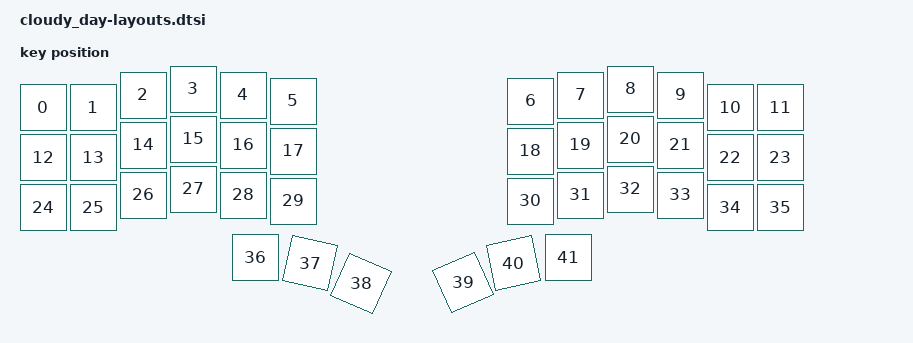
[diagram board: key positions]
#include <physical_layouts.dtsi>

/ {
    physical_layout_cloudy_day: physical_layout_cloudy_day {
        compatible = "zmk,physical-layout";
        display-name = "cloudy day";
        keys  //                     w   h    x    y     rot    rx    ry
            = <&key_physical_attrs 100 100    0   37       0     0     0>
            , <&key_physical_attrs 100 100  100   37       0     0     0>
            , <&key_physical_attrs 100 100  200   12       0     0     0>
            , <&key_physical_attrs 100 100  300    0       0     0     0>
            , <&key_physical_attrs 100 100  400   12       0     0     0>
            , <&key_physical_attrs 100 100  500   24       0     0     0>
            , <&key_physical_attrs 100 100  975   24       0     0     0>
            , <&key_physical_attrs 100 100 1075   12       0     0     0>
            , <&key_physical_attrs 100 100 1175    0       0     0     0>
            , <&key_physical_attrs 100 100 1275   12       0     0     0>
            , <&key_physical_attrs 100 100 1375   37       0     0     0>
            , <&key_physical_attrs 100 100 1475   37       0     0     0>
            , <&key_physical_attrs 100 100    0  137       0     0     0>
            , <&key_physical_attrs 100 100  100  137       0     0     0>
            , <&key_physical_attrs 100 100  200  112       0     0     0>
            , <&key_physical_attrs 100 100  300  100       0     0     0>
            , <&key_physical_attrs 100 100  400  112       0     0     0>
            , <&key_physical_attrs 100 100  500  124       0     0     0>
            , <&key_physical_attrs 100 100  975  124       0     0     0>
            , <&key_physical_attrs 100 100 1075  112       0     0     0>
            , <&key_physical_attrs 100 100 1175  100       0     0     0>
            , <&key_physical_attrs 100 100 1275  112       0     0     0>
            , <&key_physical_attrs 100 100 1375  137       0     0     0>
            , <&key_physical_attrs 100 100 1475  137       0     0     0>
            , <&key_physical_attrs 100 100    0  237       0     0     0>
            , <&key_physical_attrs 100 100  100  237       0     0     0>
            , <&key_physical_attrs 100 100  200  212       0     0     0>
            , <&key_physical_attrs 100 100  300  200       0     0     0>
            , <&key_physical_attrs 100 100  400  212       0     0     0>
            , <&key_physical_attrs 100 100  500  224       0     0     0>
            , <&key_physical_attrs 100 100  975  224       0     0     0>
            , <&key_physical_attrs 100 100 1075  212       0     0     0>
            , <&key_physical_attrs 100 100 1175  200       0     0     0>
            , <&key_physical_attrs 100 100 1275  212       0     0     0>
            , <&key_physical_attrs 100 100 1375  237       0     0     0>
            , <&key_physical_attrs 100 100 1475  237       0     0     0>
            , <&key_physical_attrs 100 100  425  337       0     0     0>
            , <&key_physical_attrs 100 100  525  337    1200   525   437>
            , <&key_physical_attrs 100 100  623  365    2400   623   458>
            , <&key_physical_attrs 100 100  877  358 (-2400)   977   508>
            , <&key_physical_attrs 100 100  950  337 (-1200)  1050   437>
            , <&key_physical_attrs 100 100 1050  337       0     0     0>
            ;
    };
};
